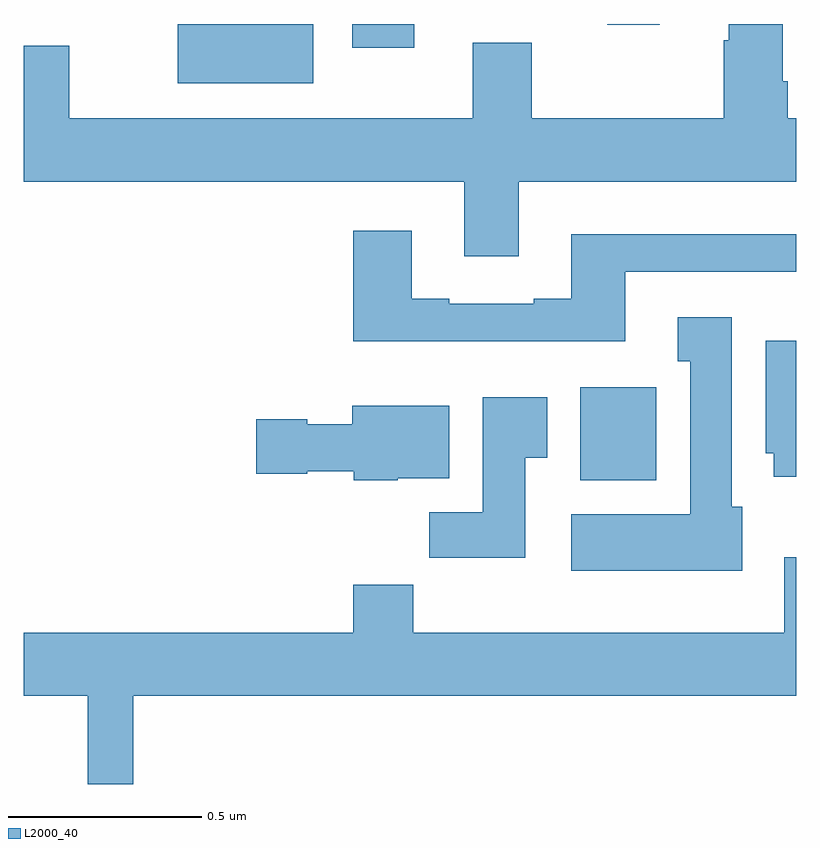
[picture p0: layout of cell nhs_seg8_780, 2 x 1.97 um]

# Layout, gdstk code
import gdstk
lib = gdstk.Library(unit=1e-6, precision=1e-09)
def R(c, l, rs):  # rectangles x0, y0, x1, y1
    for r in rs: c.add(gdstk.rectangle(r[:2], r[2:], *l))
def P(c, l, *ps):  # polygons
    for p in ps: c.add(gdstk.Polygon(p, *l))
L2000_40 = (2000, 40)

nhs_seg8_780 = lib.new_cell('nhs_seg8_780')
R(nhs_seg8_780, L2000_40, [(122.441,1123.718,122.638,1123.96), (121.398,1124.747,121.75,1124.9), (121.85,1124.838,122.011,1124.9), (122.511,1124.898,122.647,1124.9)])
P(nhs_seg8_780, L2000_40, [(122.281,1124.492),(123,1124.492),(123,1124.656),(122.978,1124.656),(122.978,1124.752),(122.965,1124.752),(122.965,1124.9),(122.825,1124.9),(122.825,1124.858),(122.813,1124.858),(122.813,1124.656),(122.315,1124.656),(122.315,1124.851),(122.162,1124.851),(122.162,1124.656),(121.117,1124.656),(121.117,1124.844),(121,1124.844),(121,1124.492),(122.141,1124.492),(122.141,1124.298),(122.281,1124.298)],
  [(122.557,1124.259),(123,1124.259),(123,1124.356),(122.417,1124.356),(122.417,1124.188),(122.321,1124.188),(122.321,1124.175),(122.101,1124.175),(122.101,1124.188),(122.005,1124.188),(122.005,1124.365),(121.853,1124.365),(121.853,1124.078),(122.557,1124.078)],
  [(122.86,1123.65),(122.833,1123.65),(122.833,1124.14),(122.693,1124.14),(122.693,1124.027),(122.726,1124.027),(122.726,1123.63),(122.417,1123.63),(122.417,1123.484),(122.86,1123.484)],
  [(123,1124.08),(122.921,1124.08),(122.921,1123.788),(122.942,1123.788),(122.942,1123.728),(123,1123.728)],
  [(122.299,1123.777),(122.356,1123.777),(122.356,1123.933),(122.189,1123.933),(122.189,1123.636),(122.05,1123.636),(122.05,1123.518),(122.299,1123.518)],
  [(121.968,1123.724),(122.101,1123.724),(122.101,1123.912),(121.85,1123.912),(121.85,1123.864),(121.734,1123.864),(121.734,1123.877),(121.602,1123.877),(121.602,1123.735),(121.734,1123.735),(121.734,1123.742),(121.854,1123.742),(121.854,1123.718),(121.968,1123.718)],
  [(121.283,1123.16),(123,1123.16),(123,1123.519),(122.969,1123.519),(122.969,1123.324),(122.009,1123.324),(122.009,1123.448),(121.853,1123.448),(121.853,1123.324),(121,1123.324),(121,1123.16),(121.166,1123.16),(121.166,1122.932),(121.283,1122.932)])

lib.write_gds('nhs_seg8_780.gds')
